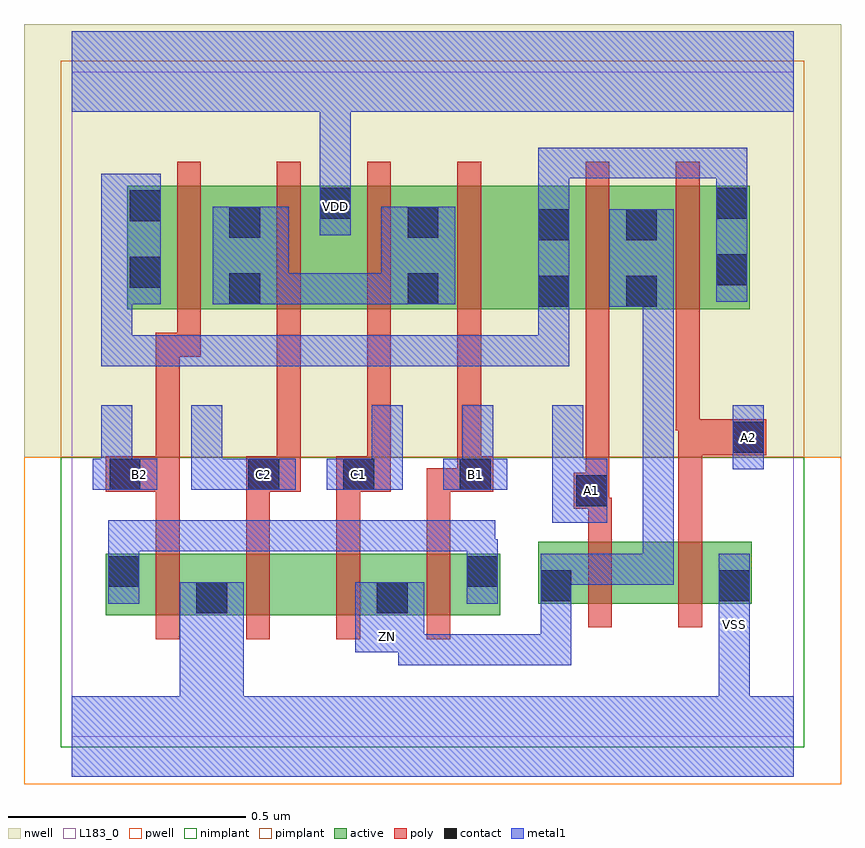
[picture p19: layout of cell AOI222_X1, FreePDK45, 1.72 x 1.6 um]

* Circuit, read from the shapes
.subckt AOI222_X1 A1 A2 B1 B2 C1 C2 VDD VSS ZN
M1 VSS B2 n1 VSUBS nfet w=0.13u l=0.05u
M2 n2 C2 VSS VSUBS nfet w=0.13u l=0.05u
M3 ZN C1 n2 VSUBS nfet w=0.13u l=0.05u
M4 n1 B1 ZN VSUBS nfet w=0.13u l=0.05u
M5 n3 A1 ZN VSUBS nfet w=0.13u l=0.05u
M6 VSS A2 n3 VSUBS nfet w=0.13u l=0.05u
M7 n4 B2 n5 n6 pfet w=0.26u l=0.05u
M8 VDD C2 n4 n6 pfet w=0.26u l=0.05u
M9 n4 C1 VDD n6 pfet w=0.26u l=0.05u
M10 n5 B1 n4 n6 pfet w=0.26u l=0.05u
M11 ZN A1 n5 n6 pfet w=0.26u l=0.05u
M12 n5 A2 ZN n6 pfet w=0.26u l=0.05u
.ends

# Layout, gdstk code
import gdstk
lib = gdstk.Library(unit=1e-6, precision=1e-10)
def R(c, l, rs):  # rectangles x0, y0, x1, y1
    for r in rs: c.add(gdstk.rectangle(r[:2], r[2:], *l))
def P(c, l, *ps):  # polygons
    for p in ps: c.add(gdstk.Polygon(p, *l))
active = (1, 0)
pwell = (2, 0)
nwell = (3, 0)
nimplant = (4, 0)
pimplant = (5, 0)
poly = (9, 0)
contact = (10, 0)
metal1 = (11, 0)
L183_0 = (183, 0)

aoi222_x1 = lib.new_cell('AOI222_X1')
R(aoi222_x1, active, [(0.0725,0.255,0.9025,0.385), (0.9825,0.28,1.4325,0.41), (0.1175,0.9,1.4275,1.16)])
R(aoi222_x1, pwell, [(-0.1,-0.1,1.62,0.5875)])
R(aoi222_x1, nwell, [(-0.1,0.5875,1.62,1.5)])
R(aoi222_x1, nimplant, [(-0.0225,-0.0225,1.5425,0.5875)])
R(aoi222_x1, pimplant, [(-0.0225,0.5875,1.5425,1.4225)])
P(aoi222_x1, poly, [(1.0575,0.48),(1.0875,0.48),(1.0875,0.23),(1.1375,0.23),(1.1375,0.5025),(1.1325,0.5025),(1.1325,1.21),(1.0825,1.21),(1.0825,0.555),(1.0575,0.555)],
  [(1.2725,0.645),(1.2775,0.645),(1.2775,0.23),(1.3275,0.23),(1.3275,0.5925),(1.4625,0.5925),(1.4625,0.6675),(1.3225,0.6675),(1.3225,1.21),(1.2725,1.21)],
  [(0.0725,0.515),(0.1775,0.515),(0.1775,0.205),(0.2275,0.205),(0.2275,0.8),(0.2725,0.8),(0.2725,1.21),(0.2225,1.21),(0.2225,0.85),(0.1775,0.85),(0.1775,0.59),(0.0725,0.59)],
  [(0.3675,0.205),(0.4175,0.205),(0.4175,0.515),(0.4825,0.515),(0.4825,1.21),(0.4325,1.21),(0.4325,0.59),(0.3675,0.59)],
  [(0.5575,0.205),(0.6075,0.205),(0.6075,0.515),(0.6725,0.515),(0.6725,1.21),(0.6225,1.21),(0.6225,0.59),(0.5575,0.59)],
  [(0.7475,0.205),(0.7975,0.205),(0.7975,0.515),(0.8875,0.515),(0.8875,0.59),(0.8625,0.59),(0.8625,1.21),(0.8125,1.21),(0.8125,0.565),(0.7475,0.565)])
R(aoi222_x1, contact, [(0.2625,0.26,0.3275,0.325), (0.6425,0.26,0.7075,0.325), (0.9875,0.285,1.0525,0.35), (1.3625,0.285,1.4275,0.35), (0.0775,0.315,0.1425,0.38), (0.8325,0.315,0.8975,0.38), (1.0625,0.485,1.1275,0.55), (0.08,0.52,0.145,0.585), (0.3725,0.52,0.4375,0.585), (0.5725,0.52,0.6375,0.585), (0.8175,0.52,0.8825,0.585), (1.3925,0.5975,1.4575,0.6625), (0.9825,0.905,1.0475,0.97), (1.1675,0.905,1.2325,0.97), (0.3325,0.91,0.3975,0.975), (0.7075,0.91,0.7725,0.975), (0.1225,0.945,0.1875,1.01), (1.3575,0.95,1.4225,1.015), (0.9825,1.045,1.0475,1.11), (1.1675,1.045,1.2325,1.11), (0.3325,1.05,0.3975,1.115), (0.7075,1.05,0.7725,1.115), (0.1225,1.085,0.1875,1.15), (0.5225,1.09,0.5875,1.155), (1.3575,1.09,1.4225,1.155)])
R(aoi222_x1, metal1, [(1.3925,0.5625,1.4575,0.6975)])
P(aoi222_x1, metal1, [(0.045,0.52),(0.0625,0.52),(0.0775,0.52),(0.1425,0.52),(0.18,0.52),(0.18,0.585),(0.1425,0.585),(0.1275,0.585),(0.1275,0.6975),(0.0625,0.6975),(0.0625,0.585),(0.045,0.585)],
  [(0.2525,0.52),(0.3175,0.52),(0.4725,0.52),(0.4725,0.585),(0.3175,0.585),(0.3175,0.6975),(0.2525,0.6975)],
  [(0.5375,0.52),(0.6325,0.52),(0.635,0.52),(0.6975,0.52),(0.6975,0.6975),(0.6325,0.6975),(0.6325,0.585),(0.5375,0.585)],
  [(0.2975,0.91),(0.8075,0.91),(0.8075,1.115),(0.6525,1.115),(0.6525,0.975),(0.4575,0.975),(0.4575,1.115),(0.2975,1.115)],
  [(0.0775,0.28),(0.1425,0.28),(0.1425,0.39),(0.8325,0.39),(0.8325,0.28),(0.8975,0.28),(0.8975,0.415),(0.8925,0.415),(0.8925,0.455),(0.0775,0.455)],
  [(0.7825,0.52),(0.8225,0.52),(0.825,0.52),(0.8875,0.52),(0.9175,0.52),(0.9175,0.585),(0.8875,0.585),(0.8875,0.6975),(0.8225,0.6975),(0.8225,0.585),(0.7825,0.585)],
  [(1.0125,0.45),(1.1275,0.45),(1.1275,0.5625),(1.1275,0.585),(1.0775,0.585),(1.0775,0.6975),(1.0125,0.6975),(1.0125,0.5625)],
  [(1.1325,0.905),(1.2025,0.905),(1.2025,0.385),(0.9875,0.385),(0.9875,0.215),(0.7425,0.215),(0.7425,0.325),(0.5975,0.325),(0.5975,0.1775),(0.6875,0.1775),(0.6875,0.15),(1.0525,0.15),(1.0525,0.32),(1.2675,0.32),(1.2675,1.11),(1.1325,1.11)],
  [(0.0625,0.78),(1.0475,0.78),(1.0475,1.175),(1.3575,1.175),(1.3575,0.915),(1.4225,0.915),(1.4225,1.24),(0.9825,1.24),(0.9825,0.845),(0.1275,0.845),(0.1275,0.91),(0.1875,0.91),(0.1875,1.185),(0.0625,1.185)],
  [(0,-0.085),(1.52,-0.085),(1.52,0.085),(1.4275,0.085),(1.4275,0.385),(1.3625,0.385),(1.3625,0.085),(0.3625,0.085),(0.3625,0.325),(0.2275,0.325),(0.2275,0.085),(0,0.085)],
  [(0,1.315),(0.5225,1.315),(0.5225,1.055),(0.5875,1.055),(0.5875,1.315),(1.52,1.315),(1.52,1.485),(0,1.485)])
R(aoi222_x1, L183_0, [(0,0,1.52,1.4)])
aoi222_x1.add(gdstk.Label('A1', (1.095,0.5175), layer=11, texttype=0))
aoi222_x1.add(gdstk.Label('A2', (1.425,0.63), layer=11, texttype=0))
aoi222_x1.add(gdstk.Label('B1', (0.85,0.5525), layer=11, texttype=0))
aoi222_x1.add(gdstk.Label('B2', (0.1425,0.5525), layer=11, texttype=0))
aoi222_x1.add(gdstk.Label('C1', (0.605,0.5525), layer=11, texttype=0))
aoi222_x1.add(gdstk.Label('C2', (0.405,0.5525), layer=11, texttype=0))
aoi222_x1.add(gdstk.Label('VDD', (0.555,1.115), layer=11, texttype=0))
aoi222_x1.add(gdstk.Label('VSS', (1.395,0.235), layer=11, texttype=0))
aoi222_x1.add(gdstk.Label('ZN', (0.665,0.21), layer=11, texttype=0))

lib.write_gds('AOI222_X1.gds')
